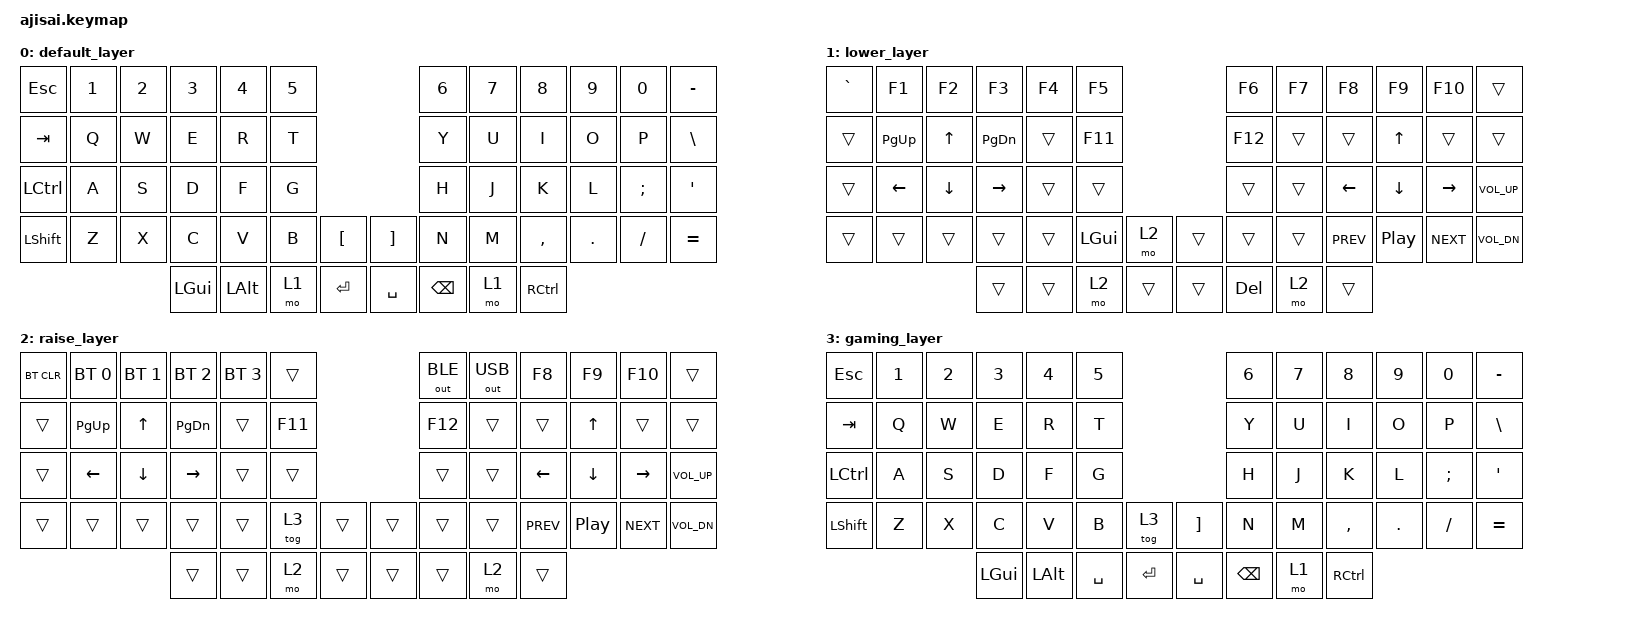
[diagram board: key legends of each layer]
/*
 * Copyright (c) 2020 The ZMK Contributors
 *
 * SPDX-License-Identifier: MIT
 */
#include <behaviors.dtsi>
#include <dt-bindings/zmk/keys.h>
#include <dt-bindings/zmk/bt.h>
#include <dt-bindings/zmk/outputs.h>

/ {
	keymap {
		compatible = "zmk,keymap";
		default_layer {
			bindings = <
&kp ESC   &kp N1 &kp N2 &kp N3   &kp N4   &kp N5                      &kp N6   &kp N7   &kp N8    &kp N9  &kp N0   &kp MINUS
&kp TAB   &kp Q  &kp W  &kp E    &kp R    &kp T                       &kp Y    &kp U    &kp I     &kp O   &kp P    &kp BSLH
&kp LCTRL &kp A  &kp S  &kp D    &kp F    &kp G                       &kp H    &kp J    &kp K     &kp L   &kp SEMI &kp SQT
&kp LSHFT &kp Z  &kp X  &kp C    &kp V    &kp B   &kp LBKT &kp RBKT   &kp N    &kp M    &kp COMMA &kp DOT &kp FSLH &kp EQUAL
                        &kp LGUI &kp LALT &mo 1   &kp RET  &kp SPACE  &kp BSPC &mo 1    &kp RCTRL
			>;
 		};
		lower_layer {
			bindings = <
&kp GRAVE &kp F1 &kp F2   &kp F3    &kp F4 &kp F5                     &kp F6  &kp F7 &kp F8      &kp F9   &kp F10    &trans	
&trans &kp PG_UP &kp UP   &kp PG_DN &trans &kp F11                    &kp F12 &trans &trans      &kp UP   &trans     &trans
&trans &kp LEFT  &kp DOWN &kp RIGHT &trans &trans                     &trans  &trans &kp LEFT    &kp DOWN &kp RIGHT  &kp C_VOL_UP
&trans &trans    &trans   &trans    &trans &kp LGUI &mo 2      &trans &trans  &trans &kp C_PREV  &kp C_PP &kp C_NEXT &kp C_VOL_DN
                          &trans    &trans &mo 2   &trans      &trans &kp DEL &mo 2  &trans
			>;
 		};
		raise_layer {
			bindings = <
&bt BT_CLR &bt BT_SEL 0 &bt BT_SEL 1 &bt BT_SEL 2 &bt BT_SEL 3 &trans &out OUT_BLE &out OUT_USB &kp F8 &kp F9 &kp F10 &trans
&trans &kp PG_UP &kp UP   &kp PG_DN &trans &kp F11                    &kp F12 &trans &trans      &kp UP   &trans     &trans
&trans &kp LEFT  &kp DOWN &kp RIGHT &trans &trans                     &trans  &trans &kp LEFT    &kp DOWN &kp RIGHT  &kp C_VOL_UP
&trans &trans    &trans   &trans    &trans &tog 3  &trans      &trans &trans  &trans &kp C_PREV  &kp C_PP &kp C_NEXT &kp C_VOL_DN
                          &trans    &trans &mo 2   &trans      &trans &trans  &mo 2  &trans
			>;
 		};
		gaming_layer {
			bindings = <
&kp ESC   &kp N1 &kp N2 &kp N3   &kp N4   &kp N5                      &kp N6   &kp N7   &kp N8    &kp N9  &kp N0   &kp MINUS
&kp TAB   &kp Q  &kp W  &kp E    &kp R    &kp T                       &kp Y    &kp U    &kp I     &kp O   &kp P    &kp BSLH
&kp LCTRL &kp A  &kp S  &kp D    &kp F    &kp G                       &kp H    &kp J    &kp K     &kp L   &kp SEMI &kp SQT
&kp LSHFT &kp Z  &kp X  &kp C    &kp V    &kp B   &tog 3    &kp RBKT  &kp N    &kp M    &kp COMMA &kp DOT &kp FSLH &kp EQUAL
                      &kp LGUI &kp LALT &kp SPACE &kp RET   &kp SPACE &kp BSPC &mo 1    &kp RCTRL
			>;
 		};
	};
};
